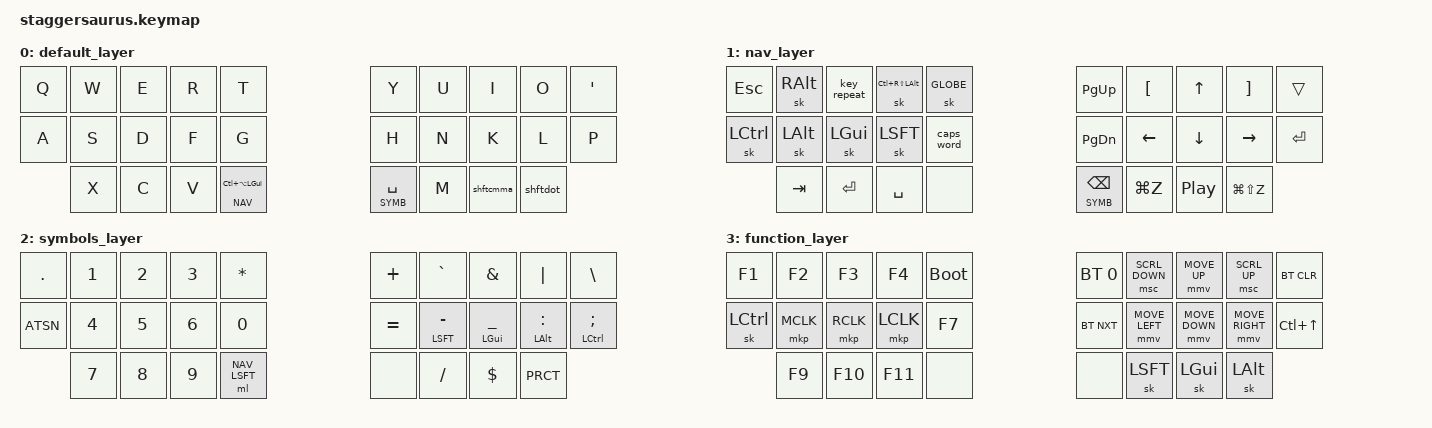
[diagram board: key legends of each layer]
/*
 * Copyright (c) 2020 The ZMK Contributors
 *
 * SPDX-License-Identifier: MIT
 */

#include <behaviors.dtsi>
#include <dt-bindings/zmk/keys.h>
#include <dt-bindings/zmk/bt.h>

#define ZMK_POINTING_DEFAULT_MOVE_VAL 1800
#define ZMK_POINTING_DEFAULT_SCRL_VAL 20
#include <dt-bindings/zmk/pointing.h>

#define DEFAULT 0
#define NAV 1
#define SYMB 2
#define FUNC 3

&sk {
  release-after-ms = <500>;
  quick-release;
};

&sl {
  release-after-ms = <500>;
};

&lt {
  flavor = "balanced";
  quick-tap-ms = <200>;
};

&mmv {
  acceleration-exponent = <1>;
};

/ {
  combos {
    compatible = "zmk,combos";
    z {
      timeout-ms = <40>;
      key-positions = <11 12>;
      bindings = <&kp Z>;
      layers = <DEFAULT>;
    };
    b {
      timeout-ms = <40>;
      key-positions = <12 13>;
      bindings = <&kp B>;
      layers = <DEFAULT>;
    };
    shrtct {
      timeout-ms = <40>;
      key-positions = <6 7>;
      bindings = <&sk LC(LA(LGUI))>;
      layers = <DEFAULT>;
    };
    j {
      timeout-ms = <40>;
      key-positions = <16 17>;
      bindings = <&kp J>;
      layers = <DEFAULT>;
    };
    slash {
      timeout-ms = <40>;
      key-positions = <17 18>;
      bindings = <&kp FSLH>;
      layers = <DEFAULT>;
    };

    britup {
      timeout-ms = <50>;
      key-positions = <1 2 3>;
      bindings = <&kp C_BRI_UP>;
      layers = <DEFAULT>;
    };
    britdn {
      timeout-ms = <50>;
      key-positions = <20 21 22>;
      bindings = <&kp C_BRI_DN>;
      layers = <DEFAULT>;
    };
    volup {
      timeout-ms = <50>;
      key-positions = <6 7 8>;
      bindings = <&kp C_VOL_UP>;
      layers = <DEFAULT>;
    };
    volmt {
      timeout-ms = <50>;
      key-positions = <16 17 18>;
      bindings = <&kp C_MUTE>;
      layers = <DEFAULT>;
    };
    voldn {
      timeout-ms = <50>;
      key-positions = <25 26 27>;
      bindings = <&kp C_VOL_DN>;
      layers = <DEFAULT>;
    };

    bksp {
      timeout-ms = <50>;
      key-positions = <21 22>;
      bindings = <&kp BKSP>;
      layers = <NAV>;
    };
    caps {
      timeout-ms = <50>;
      key-positions = <1 2 3>;
      bindings = <&kp CAPS>;
      layers = <NAV>;
    };
    codeprev {
      timeout-ms = <40>;
      key-positions = <6 7>;
      bindings = <&kp LC(MINUS)>;
      layers = <NAV>;
    };
    codenext {
      timeout-ms = <40>;
      key-positions = <7 8>;
      bindings = <&kp LC(LS(MINUS))>;
      layers = <NAV>;
    };
    prev {
      timeout-ms = <40>;
      key-positions = <25 26>;
      bindings = <&kp C_PREV>;
      layers = <NAV>;
    };
    next {
      timeout-ms = <40>;
      key-positions = <26 27>;
      bindings = <&kp C_NEXT>;
      layers = <NAV>;
    };

    lpar {
      timeout-ms = <40>;
      key-positions = <12 13>;
      bindings = <&kp LPAR>;
      layers = <SYMB>;
    };
    rpar {
      timeout-ms = <40>;
      key-positions = <16 17>;
      bindings = <&kp RPAR>;
      layers = <SYMB>;
    };
    lbkt {
      timeout-ms = <40>;
      key-positions = <11 12>;
      bindings = <&kp LBKT>;
      layers = <SYMB>;
    };
    rbkt {
      timeout-ms = <40>;
      key-positions = <17 18>;
      bindings = <&kp RBKT>;
      layers = <SYMB>;
    };
    lbrc {
      timeout-ms = <40>;
      key-positions = <2 3>;
      bindings = <&kp LBRC>;
      layers = <SYMB>;
    };
    rbrc {
      timeout-ms = <40>;
      key-positions = <6 7>;
      bindings = <&kp RBRC>;
      layers = <SYMB>;
    };
    lt {
      timeout-ms = <40>;
      key-positions = <1 2>;
      bindings = <&kp LT>;
      layers = <SYMB>;
    };
    gt {
      timeout-ms = <40>;
      key-positions = <7 8>;
      bindings = <&kp GT>;
      layers = <SYMB>;
    };

    btclr {
      timeout-ms = <40>;
      key-positions = <10 19>;
      bindings = <&bt BT_CLR>;
      layers = <FUNC>;
    };
    btsel0 {
      timeout-ms = <50>;
      key-positions = <2 3>;
      bindings = <&bt BT_SEL 0>;
      layers = <FUNC>;
    };
    btnxt {
      timeout-ms = <50>;
      key-positions = <12 13>;
      bindings = <&bt BT_NXT>;
      layers = <FUNC>;
    };
    scrl_left {
      timeout-ms = <40>;
      key-positions = <7 8>;
      bindings = <&msc SCRL_LEFT>;
      layers = <FUNC>;
    };
    scrl_right {
      timeout-ms = <40>;
      key-positions = <6 7>;
      bindings = <&msc SCRL_RIGHT>;
      layers = <FUNC>;
    };
  };

  behaviors {
    lm: layer_mod {
      compatible = "zmk,behavior-hold-tap";
      #binding-cells = <2>;
      flavor = "hold-preferred";
      tapping-term-ms = <150>;
      quick-tap-ms = <200>;
      bindings = <&mo>, <&sk>;
    };
    shftcmma: shift_comma {
      compatible = "zmk,behavior-mod-morph";
      #binding-cells = <0>;
      bindings = <&kp CMMA>, <&kp QMARK>;
      mods = <(MOD_LSFT)>;
    };
    shftdot: shift_dot {
      compatible = "zmk,behavior-mod-morph";
      #binding-cells = <0>;
      bindings = <&kp DOT>, <&kp BANG>;
      mods = <(MOD_LSFT)>;
    };
    shft1: shift_1 {
      compatible = "zmk,behavior-mod-morph";
      #binding-cells = <0>;
      bindings = <&kp N1>, <&kp COMMA>;
      mods = <(MOD_LSFT)>;
    };

    conditional_layers {
      compatible = "zmk,conditional-layers";
      tri_layer {
        if-layers = <NAV SYMB>;
        then-layer = <FUNC>;
      };
    };

  };

  keymap {
    compatible = "zmk,keymap";
    default_layer {
      bindings = <
        &kp Q  &kp W  &kp E  &kp R  &kp T                           &kp Y  &kp U  &kp I   &kp O     &kp QUOT
        &kp A  &kp S  &kp D  &kp F  &kp G                           &kp H  &kp N  &kp K   &kp L     &kp P
                &kp X  &kp C  &kp V  &lm NAV LC(LA(LGUI))   &lt SYMB SPACE  &kp M  &shftcmma  &shftdot
      >;
    };

    nav_layer {
      bindings = <
        &kp ESC   &sk RALT  &key_repeat  &sk LC(RS(LALT))  &sk GLOBE        &kp PG_UP     &kp LBKT        &kp UP          &kp RBKT        &trans
        &sk LCTL  &sk LALT  &sk LGUI      &sk LSFT    &caps_word            &kp PG_DN     &kp LEFT        &kp DOWN        &kp RIGHT       &kp ENTER
                 &kp TAB   &kp ENTER     &kp SPC     &none             &lt SYMB BKSP  &kp LG(Z)      &kp C_PP        &kp LG(LS(Z))
      >;
    };

    symbols_layer {
      bindings = <
        &kp DOT    &kp N1  &kp N2  &kp N3  &kp STAR         &kp PLUS   &kp GRAV   &kp AMPS   &kp PIPE   &kp BSLH
        &kp ATSN    &kp N4  &kp N5  &kp N6  &kp N0          &kp EQUAL  &mt LSFT MINUS  &mt LGUI UNDER  &mt LALT COLON   &mt LCTL SEMI
                    &kp N7  &kp N8  &kp N9  &ml NAV LSFT    &none   &kp FSLH   &kp DLLR   &kp PRCT
      >;
    };

    function_layer {
      bindings = <
        &kp F1  &kp F2     &kp F3     &kp F4     &bootloader    &bt BT_SEL 0   &msc SCRL_DOWN  &mmv MOVE_UP     &msc SCRL_UP     &bt BT_CLR
        &sk LCTL  &mkp MCLK  &mkp RCLK  &mkp LCLK  &kp F7        &bt BT_NXT     &mmv MOVE_LEFT  &mmv MOVE_DOWN   &mmv MOVE_RIGHT  &kp LC(UP)
                &kp F9     &kp F10    &kp F11    &none          &none     &sk LSFT        &sk LGUI         &sk LALT
      >;
    };
  };
};
